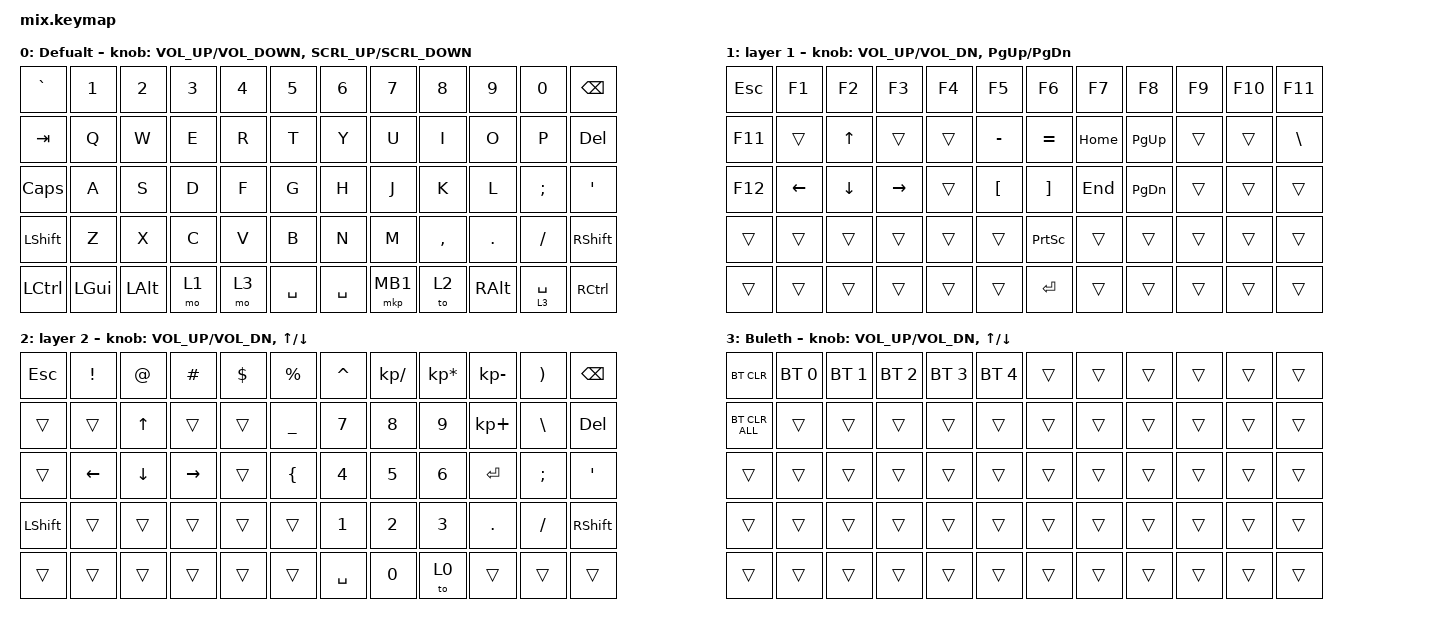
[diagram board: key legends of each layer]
/*
 * Copyright (c) 2020 The ZMK Contributors
 *
 * SPDX-License-Identifier: MIT
 */

#include <behaviors.dtsi>
#include <dt-bindings/zmk/bt.h>
#include <dt-bindings/zmk/keys.h>
#include <dt-bindings/zmk/pointing.h>

#define ZMK_POINTING_DEFAULT_SCRL_VAL 40

/ {
    combos {
        compatible = "zmk,combos";

        boot {
            bindings = <&bootloader>;
            key-positions = <0 11 54 53>;
        };
    };

    behaviors {
        encoder_sc: encoder_sc {
            compatible = "zmk,behavior-sensor-rotate-var";
            label = "ENCODER_SC";
            #sensor-binding-cells = <2>;
            bindings = <&msc>, <&msc>;

            tap-ms = <40>;
        };
    };

    keymap {
        compatible = "zmk,keymap";

        LAYER0 {
            display-name = "Defualt";
            bindings = <
&kp GRAVE  &kp N1        &kp N2        &kp N3  &kp NUMBER_4  &kp N5     &kp NUMBER_6  &kp N7    &kp N8     &kp N9         &kp N0         &kp BSPC
&kp TAB    &kp Q         &kp W         &kp E   &kp R         &kp T      &kp Y         &kp U     &kp I      &kp O          &kp P          &kp DELETE
&kp CAPS   &kp A         &kp S         &kp D   &kp F         &kp G      &kp H         &kp J     &kp K      &kp L          &kp SEMICOLON  &kp SQT
&kp LSHFT  &kp Z         &kp X         &kp C   &kp V         &kp B      &kp N         &kp M     &kp COMMA  &kp DOT        &kp FSLH       &kp RSHFT
&kp LCTRL  &kp LEFT_GUI  &kp LEFT_ALT  &mo 1   &mo 3         &kp SPACE  &kp SPACE     &mkp MB1  &to 2      &kp RIGHT_ALT  &lt 3 SPACE    &kp RCTRL
            >;

            sensor-bindings =
                <&inc_dec_kp C_VOLUME_UP C_VOLUME_DOWN>,
                <&encoder_sc SCRL_UP SCRL_DOWN>;
        };

        LAYER1 {
            display-name = "layer 1";
            bindings = <
&kp ESCAPE  &kp F1          &kp F2          &kp F3           &kp F4  &kp F5            &kp F6             &kp F7    &kp F8         &kp F9  &kp F10  &kp F11
&kp F11     &trans          &kp UP          &trans           &trans  &kp MINUS         &kp EQUAL          &kp HOME  &kp PAGE_UP    &trans  &trans   &kp BACKSLASH
&kp F12     &kp LEFT_ARROW  &kp DOWN_ARROW  &kp RIGHT_ARROW  &trans  &kp LEFT_BRACKET  &kp RIGHT_BRACKET  &kp END   &kp PAGE_DOWN  &trans  &trans   &trans
&trans      &trans          &trans          &trans           &trans  &trans            &kp PRINTSCREEN    &trans    &trans         &trans  &trans   &trans
&trans      &trans          &trans          &trans           &trans  &trans            &kp ENTER          &trans    &trans         &trans  &trans   &trans
            >;

            sensor-bindings = <&inc_dec_kp C_VOL_UP C_VOL_DN &inc_dec_kp PG_UP PG_DN>;
        };

        LAYER2 {
            display-name = "layer 2";
            bindings = <
&kp ESCAPE      &kp EXCLAMATION  &kp AT_SIGN     &kp HASH         &kp DOLLAR  &kp PERCENT     &kp CARET     &kp KP_DIVIDE  &kp KP_ASTERISK  &kp KP_SUBTRACT  &kp RIGHT_PARENTHESIS  &kp BACKSPACE
&trans          &trans           &kp UP_ARROW    &trans           &trans      &kp UNDERSCORE  &kp NUMBER_7  &kp NUMBER_8   &kp NUMBER_9     &kp KP_PLUS      &kp BACKSLASH          &kp DELETE
&trans          &kp LEFT_ARROW   &kp DOWN_ARROW  &kp RIGHT_ARROW  &trans      &kp LEFT_BRACE  &kp NUMBER_4  &kp NUMBER_5   &kp NUMBER_6     &kp ENTER        &kp SEMICOLON          &kp SINGLE_QUOTE
&kp LEFT_SHIFT  &trans           &trans          &trans           &trans      &trans          &kp NUMBER_1  &kp NUMBER_2   &kp NUMBER_3     &kp PERIOD       &kp SLASH              &kp RIGHT_SHIFT
&trans          &trans           &trans          &trans           &trans      &trans          &kp SPACE     &kp NUMBER_0   &to 0            &trans           &trans                 &trans
            >;

            sensor-bindings =
                <&inc_dec_kp C_VOL_UP C_VOL_DN>,
                <&inc_dec_kp UP_ARROW DOWN>;
        };

        LAYER3 {
            display-name = "Buleth";
            bindings = <
&bt BT_CLR      &bt BT_SEL 0  &bt BT_SEL 1  &bt BT_SEL 2  &bt BT_SEL 3  &bt BT_SEL 4  &trans  &trans  &trans  &trans  &trans  &trans
&bt BT_CLR_ALL  &trans        &trans        &trans        &trans        &trans        &trans  &trans  &trans  &trans  &trans  &trans
&trans          &trans        &trans        &trans        &trans        &trans        &trans  &trans  &trans  &trans  &trans  &trans
&trans          &trans        &trans        &trans        &trans        &trans        &trans  &trans  &trans  &trans  &trans  &trans
&trans          &trans        &trans        &trans        &trans        &trans        &trans  &trans  &trans  &trans  &trans  &trans
            >;

            sensor-bindings =
                <&inc_dec_kp C_VOL_UP C_VOL_DN>,
                <&inc_dec_kp UP_ARROW DOWN_ARROW>;
        };
    };
};
